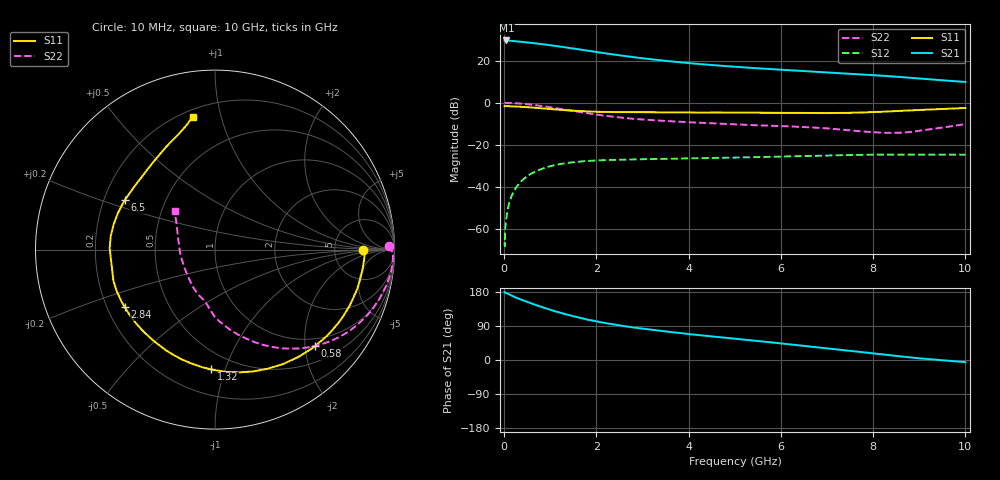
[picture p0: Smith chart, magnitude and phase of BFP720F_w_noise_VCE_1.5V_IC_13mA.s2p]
! Infineon Technologies  Discrete & RF Semiconductors
! BFP720F
! VCE =  1.5 V,  IC =  13 mA
! Common Emitter S-Parameters:  Jan 2016
# GHz  S  MA  R  50
!  f  S11  S21  S12  S22
! GHz  MAG  ANG  MAG  ANG  MAG  ANG  MAG  ANG
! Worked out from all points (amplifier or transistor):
!   233 points, 10 MHz to 10 GHz, reference 50 ohm
!   highest |S21| = 29.5 dB at 50 MHz (marker M1)
!   |S21| within 3 dB of that: start of sweep to 1.245 GHz
!   unconditionally stable (mu >= 1): start of sweep to 14.21 MHz; 6.422 GHz to end of sweep
!   at 200 MHz: K = 0.07, MSG = 35.8 dB, |S12| = -42.4 dB
!   at 1.74 GHz: K = 0.36, MSG = 26.3 dB, |S12| = -27.7 dB
!   at 10 GHz: K = 1.27, MAG = 14.1 dB, |S12| = -24.6 dB
!   lowest NFmin = 0.64 dB at 450 MHz
!   S11 on the Smith chart (normalised r, x): 10 MHz: 11, -0; 580 MHz: 0.83, -2.22; 1.32 GHz: 0.37, -0.90; 2.84 GHz: 0.27, -0.27; 6.5 GHz: 0.29, +0.24; 10 GHz: 0.24, +0.82
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0.01  0.8268 -0.2  29.78 179.7  0.0005 -15.4  0.9684 1.2
0.02  0.8348 -1.5  29.67 177.4  0.0009 95.9  0.9925 -1.2
0.05  0.8326 -4.0  29.91 176.6  0.0019 82.3  0.9928 -2.2
0.155  0.8252 -12.2  29.31 170.1  0.0059 83.5  0.9878 -7.4
0.26  0.8153 -20.1  28.56 164.5  0.0099 79.1  0.973 -12.4
0.42  0.7968 -32.1  27.39 156.9  0.0155 72.8  0.9421 -19.7
0.58  0.7743 -43.8  26.29 149.8  0.0207 66.7  0.9035 -26.7
0.8  0.7417 -59.4  24.74 140.3  0.0268 59.0  0.8441 -35.5
0.92  0.7223 -67.4  23.75 135.5  0.0296 55.0  0.8072 -40.0
1.1  0.6972 -78.8  22.3 128.7  0.0333 49.7  0.7525 -46.4
1.32  0.6675 -91.9  20.6 121.1  0.0369 43.9  0.687 -53.4
1.68  0.6316 -110.8  18 110.1  0.0408 36.3  0.5919 -63.4
1.92  0.6158 -121.0  16.41 103.8  0.0425 32.2  0.5396 -69.1
2.2  0.6064 -131.1  14.79 97.3  0.0439 28.4  0.4903 -74.9
2.84  0.5958 -147.4  11.88 85.2  0.0454 22.6  0.4128 -84.5
3.4  0.5942 -156.2  10.11 76.9  0.0466 19.6  0.3756 -89.9
4  0.5918 -163.1  8.69 68.5  0.0477 17.4  0.3449 -93.5
5.1  0.5846 171.3  6.998 55.0  0.0505 14.7  0.3047 -99.0
6.5  0.5736 151.4  5.649 37.3  0.0549 10.9  0.2668 -110.7
6.8  0.57 146.3  5.4 33.5  0.0558 9.9  0.2546 -115.0
8.4  0.6282 116.6  4.216 12.1  0.0592 3.2  0.1934 -164.9
10  0.7512 99.6  3.108 -5.7  0.0589 -1.3  0.3118 136.1
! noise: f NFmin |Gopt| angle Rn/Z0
0.45  0.64  0.27  2  0.64
0.9  0.67  0.23  8  0.14
1.8  0.7  0.21  11  0.15
2.4  0.72  0.18  18  0.13
5.5  0.88  0.15  30  0.08
10  1.04  0.3  -88  0.19
